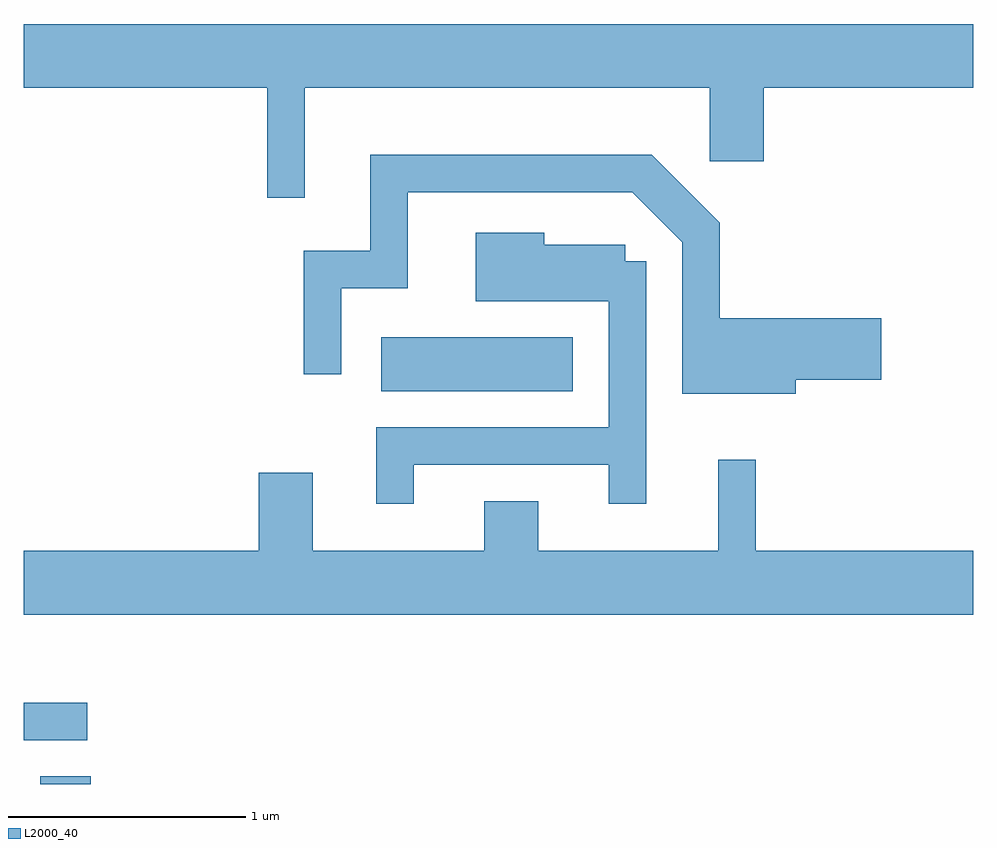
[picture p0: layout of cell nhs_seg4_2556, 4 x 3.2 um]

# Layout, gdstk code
import gdstk
lib = gdstk.Library(unit=1e-6, precision=1e-09)
def R(c, l, rs):  # rectangles x0, y0, x1, y1
    for r in rs: c.add(gdstk.rectangle(r[:2], r[2:], *l))
def P(c, l, *ps):  # polygons
    for p in ps: c.add(gdstk.Polygon(p, *l))
L2000_40 = (2000, 40)

nhs_seg4_2556 = lib.new_cell('nhs_seg4_2556')
R(nhs_seg4_2556, L2000_40, [(259.681,1333.982,259.894,1334.014), (259.611,1334.166,259.878,1334.324), (261.116,1335.636,261.924,1335.864)])
P(nhs_seg4_2556, L2000_40, [(260.794,1336.916),(262.501,1336.916),(262.501,1336.606),(262.729,1336.606),(262.729,1336.916),(263.611,1336.916),(263.611,1337.184),(259.611,1337.184),(259.611,1336.916),(260.636,1336.916),(260.636,1336.453),(260.794,1336.453)],
  [(262.864,1335.686),(263.224,1335.686),(263.224,1335.944),(262.544,1335.944),(262.544,1336.347),(262.257,1336.634),(261.071,1336.634),(261.071,1336.229),(260.791,1336.229),(260.791,1335.708),(260.949,1335.708),(260.949,1336.071),(261.229,1336.071),(261.229,1336.476),(262.174,1336.476),(262.386,1336.264),(262.386,1335.626),(262.864,1335.626)],
  [(261.254,1335.326),(262.076,1335.326),(262.076,1335.163),(262.234,1335.163),(262.234,1336.184),(262.144,1336.184),(262.144,1336.254),(261.804,1336.254),(261.804,1336.304),(261.516,1336.304),(261.516,1336.016),(262.076,1336.016),(262.076,1335.484),(261.096,1335.484),(261.096,1335.163),(261.254,1335.163)],
  [(263.611,1334.964),(262.694,1334.964),(262.694,1335.348),(262.536,1335.348),(262.536,1334.964),(261.779,1334.964),(261.779,1335.174),(261.551,1335.174),(261.551,1334.964),(260.829,1334.964),(260.829,1335.294),(260.601,1335.294),(260.601,1334.964),(259.611,1334.964),(259.611,1334.696),(263.611,1334.696)])

lib.write_gds('nhs_seg4_2556.gds')
